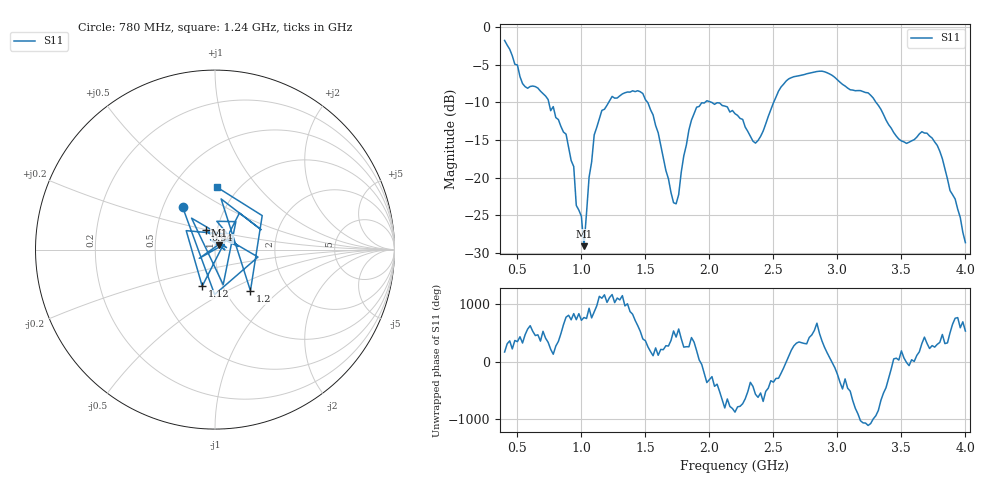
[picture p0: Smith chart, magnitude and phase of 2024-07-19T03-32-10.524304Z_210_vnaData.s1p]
!Created with skrf (http://scikit-rf.org).
# Hz S RI R 50.0
!freq ReS11 ImS11
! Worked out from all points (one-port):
!   181 points, 400 MHz to 4 GHz, reference 50 ohm
!   lowest |S11| = -29.1 dB at 1.02 GHz (marker M1), VSWR 1.07, Z = 52.3 + j2.7 ohm
!   |S11| at or under -10 dB: 745 MHz to 1.213 GHz (467.9 MHz wide, 47.8 % of centre); 2.016 GHz to 2.502 GHz (485.6 MHz wide, 21.5 % of centre); 3.301 GHz to end of sweep (the widest 3 of 4)
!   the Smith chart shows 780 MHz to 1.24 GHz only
!   S11 on the Smith chart (normalised r, x): 780 MHz: 0.63, +0.32; 940 MHz: 0.88, +0.19; 1.12 GHz: 0.80, -0.34; 1.2 GHz: 1.30, -0.66; 1.24 GHz: 0.81, +0.63
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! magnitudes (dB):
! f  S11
! 400 MHz  -1.8
! 540 MHz  -7.5
! 780 MHz  -10.6
! 860 MHz  -14.0
! 940 MHz  -18.5
! 960 MHz  -23.7
! 1 GHz  -25.2
! 1.02 GHz  -29.1
! 1.06 GHz  -20.0
! 1.12 GHz  -13.3
! 1.2 GHz  -10.4
! 1.24 GHz  -9.2
! 1.3 GHz  -9.1
! 1.48 GHz  -8.8
! 1.6 GHz  -14.1
! 1.72 GHz  -23.4
! 1.76 GHz  -22.3
! 1.84 GHz  -13.7
! 1.9 GHz  -10.6
! 2.2 GHz  -11.5
! 2.36 GHz  -15.4
! 2.54 GHz  -8.5
! 2.66 GHz  -6.6
! 3.1 GHz  -8.3
! 3.24 GHz  -8.7
! 3.56 GHz  -15.3
! 3.78 GHz  -15.7
! 4 GHz  -28.7
